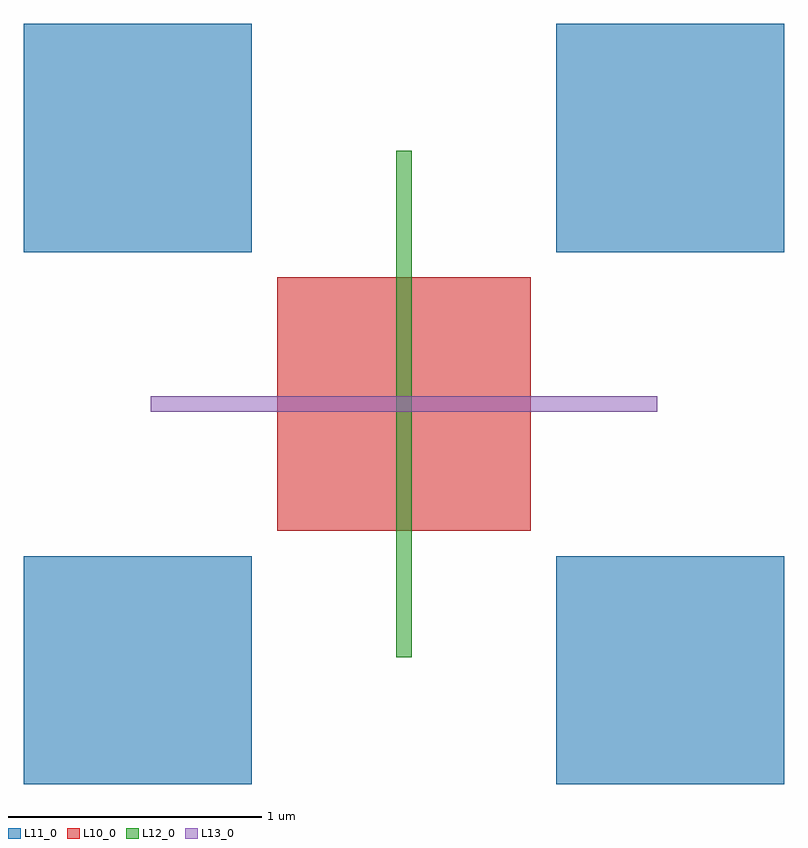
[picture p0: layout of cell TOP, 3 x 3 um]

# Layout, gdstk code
import gdstk
lib = gdstk.Library(unit=1e-6, precision=1e-09)
def R(c, l, rs):  # rectangles x0, y0, x1, y1
    for r in rs: c.add(gdstk.rectangle(r[:2], r[2:], *l))
L10_0 = (10, 0)
L11_0 = (11, 0)
L12_0 = (12, 0)
L13_0 = (13, 0)

top = lib.new_cell('TOP')
R(top, L10_0, [(-0.5,-0.5,0.5,0.5)])
R(top, L11_0, [(-1.5,-1.5,-0.6,-0.6), (0.6,-1.5,1.5,-0.6), (-1.5,0.6,-0.6,1.5), (0.6,0.6,1.5,1.5)])
R(top, L12_0, [(-0.03,-1,0.03,1)])
R(top, L13_0, [(-1,-0.03,1,0.03)])

lib.write_gds('TOP.gds')
